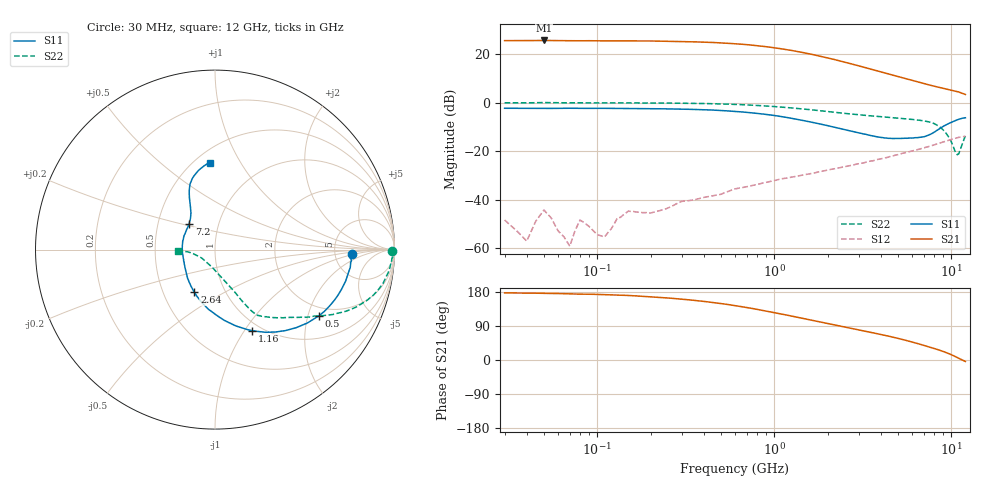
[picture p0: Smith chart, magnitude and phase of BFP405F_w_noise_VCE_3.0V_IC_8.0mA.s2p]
! Infineon Technologies  Discrete & RF Semiconductors
! BFP405F
! VCE =  3.0 V,  IC =  8.0 mA
! Common Emitter S-Parameters:  Nov 2015
# GHz  S  MA  R  50
!  f  S11  S21  S12  S22
! GHz  MAG  ANG  MAG  ANG  MAG  ANG  MAG  ANG
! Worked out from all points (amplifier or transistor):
!   239 points, 30 MHz to 12 GHz, reference 50 ohm
!   highest |S21| = 25.6 dB at 50 MHz (marker M1)
!   |S21| within 3 dB of that: start of sweep to 998 MHz
!   unconditionally stable (mu >= 1): 2.525 GHz to end of sweep
!   at 300 MHz: K = 0.25, MSG = 32.9 dB, |S12| = -40.7 dB
!   at 1.88 GHz: K = 0.81, MSG = 23.5 dB, |S12| = -28.2 dB
!   at 12 GHz: K = 1.41, MAG = 4.8 dB, |S12| = -13.9 dB
!   lowest NFmin = 1.52 dB at 450 MHz
!   S11 on the Smith chart (normalised r, x): 30 MHz: 7.32, -0.79; 500 MHz: 1.68, -2.35; 1.16 GHz: 0.91, -1.09; 2.64 GHz: 0.72, -0.37; 7.2 GHz: 0.72, +0.22; 12 GHz: 0.59, +0.75
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0.03  0.7622 -1.7  18.83 177.1  0.0038 40.9  0.9873 -0.6
0.04  0.7588 -2.4  18.84 176.8  0.0014 103.8  0.9862 -0.9
0.05  0.7545 -3.4  18.99 175.8  0.0061 67.1  0.9977 -1.6
0.07  0.7627 -4.7  18.79 174.3  0.0011 49.6  0.9881 -1.9
0.08  0.7583 -5.6  18.68 173.8  0.0038 98.7  0.9874 -2.2
0.085  0.7591 -5.8  18.73 173.7  0.0033 101.6  0.9893 -2.4
0.11  0.7599 -7.6  18.63 172.4  0.0017 122.1  0.986 -3.0
0.145  0.7541 -9.9  18.64 170.6  0.0053 66.5  0.9854 -4.2
0.24  0.7418 -16.2  18.31 164.3  0.0063 79.3  0.976 -7.0
0.36  0.7194 -23.9  17.75 157.0  0.0101 79.5  0.9599 -10.3
0.5  0.6859 -32.6  16.93 148.9  0.0129 75.6  0.9349 -14.1
0.6  0.6572 -38.5  16.25 143.4  0.0167 73.2  0.9156 -16.3
0.9  0.5691 -53.8  14.15 129.1  0.0228 70.3  0.8489 -22.2
1.16  0.4968 -65.3  12.38 119.2  0.0276 68.3  0.7926 -26.0
1.64  0.3908 -83.7  9.773 104.8  0.0347 65.5  0.7057 -31.4
2.18  0.3102 -102.2  7.71 92.6  0.0432 63.4  0.6308 -36.7
2.64  0.2637 -115.8  6.444 84.8  0.0497 61.9  0.5855 -40.1
3.3  0.2208 -133.8  5.184 75.4  0.0593 60.4  0.5417 -44.4
4.5  0.1834 -165.0  3.803 62.1  0.0774 57.6  0.495 -49.8
7.2  0.2039 134.9  2.393 36.9  0.1195 48.8  0.4106 -58.6
10.8  0.4397 103.6  1.68 6.4  0.1883 30.0  0.0842 -127.7
12  0.4853 93.0  1.465 -3.8  0.202 23.3  0.2039 -178.5
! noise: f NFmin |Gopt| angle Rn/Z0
0.45  1.52  0.27  6  0.33
0.9  1.54  0.24  12  0.32
1.5  1.6  0.23  17  0.29
1.9  1.63  0.21  23  0.3
2.4  1.77  0.2  31  0.33
3  1.84  0.18  45  0.31
3.5  1.9  0.16  52  0.3
4.5  2.05  0.13  55  0.2
5.5  2.24  0.07  59  0.06
